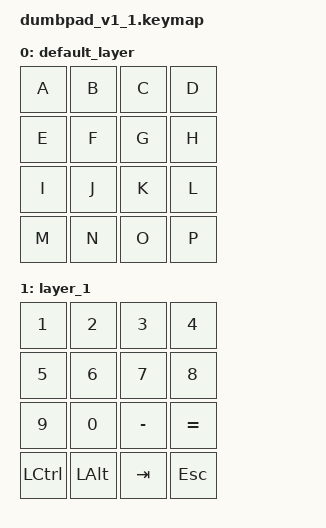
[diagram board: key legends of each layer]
/ {
  keymap {
    compatible = "zmk,keymap";

    default_layer {
      bindings = <
        &kp A &kp B &kp C &kp D
        &kp E &kp F &kp G &kp H
        &kp I &kp J &kp K &kp L
        &kp M &kp N &kp O &kp P
      >;
    };

    layer_1 {
      bindings = <
        &kp N1 &kp N2 &kp N3 &kp N4
        &kp N5 &kp N6 &kp N7 &kp N8
        &kp N9 &kp N0 &kp MINUS &kp EQUAL
        &kp LCTRL &kp LALT &kp TAB &kp ESC
      >;
    };
  };

//  input {
//    compatible = "zmk,input-behavior-driver";
//    input-0 = <&kp VOL_UP>;
//    input-1 = <&kp VOL_DN>;
//  };
};

